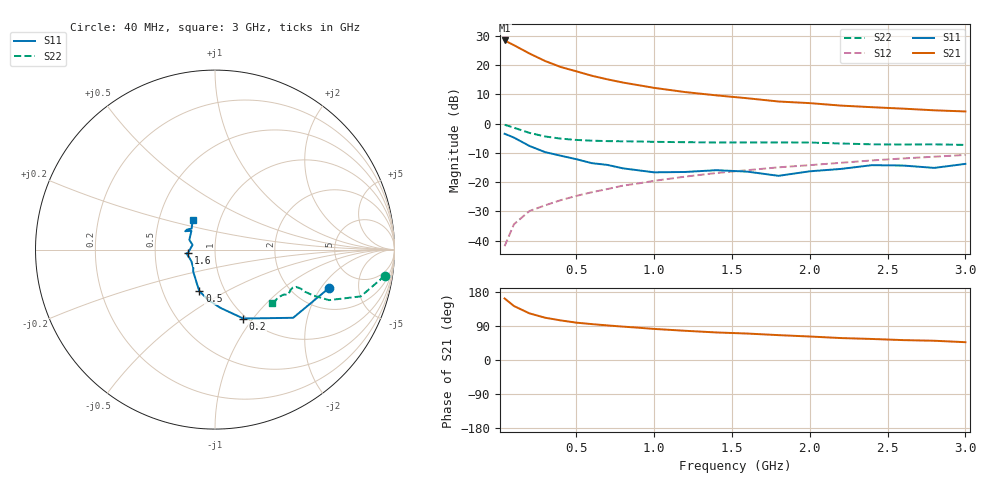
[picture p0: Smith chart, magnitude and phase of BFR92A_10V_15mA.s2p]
! Filename:  BFR92AI.S2P  Version:  2.0
! Philips part #: BFR92A  Date: May 1990
! Bias condition: Vce=10V, Ic=15mA
#  MHz  S  MA  R  50
! Freq  S11  S21  S12  S22  !GUM [dB]
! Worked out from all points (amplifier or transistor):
!   21 points, 40 MHz to 3 GHz, reference 50 ohm
!   highest |S21| = 28.5 dB at 40 MHz (marker M1)
!   |S21| within 3 dB of that: start of sweep to 148.3 MHz
!   unconditionally stable (mu >= 1): 897.4 MHz to 2.424 GHz; 2.693 GHz to 2.853 GHz
!   at 300 MHz: K = 0.77, MSG = 24.7 dB, |S12| = -28.0 dB
!   at 1 GHz: K = 1.01, MAG = 15.2 dB, |S12| = -19.6 dB
!   at 3 GHz: K = 0.98, MSG = 7.4 dB, |S12| = -10.7 dB
!   S11 on the Smith chart (normalised r, x): 40 MHz: 3.11, -2.41; 200 MHz: 0.97, -0.90; 500 MHz: 0.76, -0.37; 1.6 GHz: 0.74, -0.03; 3 GHz: 0.74, +0.25
40  0.672 -18.4  26.59 162.4  0.008 77.9  0.958 -8.7
100  0.578 -41.1  22.06 142.4  0.019 69.8  0.853 -17.8
200  0.415 -67.7  15.88 123.0  0.032 69.8  0.695 -23.9
300  0.326 -84.7  11.83 111.6  0.04 68.6  0.604 -25.0
400  0.283 -97.6  9.353 104.5  0.049 70.2  0.555 -25.1
500  0.247 -110.7  7.884 98.6  0.058 70.0  0.527 -24.5
600  0.211 -119.1  6.622 94.7  0.067 71.7  0.512 -24.5
700  0.197 -123.3  5.747 91.3  0.076 73.6  0.503 -24.7
800  0.172 -135.1  5.06 88.1  0.087 73.4  0.499 -24.6
900  0.159 -139.5  4.561 85.2  0.095 74.8  0.496 -25.0
1000  0.147 -152.9  4.106 82.0  0.105 74.6  0.489 -25.1
1200  0.149 -160.4  3.476 77.1  0.124 74.6  0.482 -26.1
1400  0.16 -172.5  3.055 72.7  0.143 74.2  0.477 -28.1
1600  0.151 -173.3  2.723 69.8  0.16 74.0  0.478 -29.1
1800  0.128 168.0  2.396 65.6  0.179 74.0  0.478 -30.8
2000  0.153 159.3  2.249 62.0  0.195 73.2  0.476 -32.0
2200  0.168 141.5  2.04 57.9  0.214 72.8  0.458 -33.1
2400  0.195 148.3  1.915 55.5  0.235 71.6  0.443 -36.5
2600  0.192 144.7  1.809 52.5  0.254 70.8  0.44 -39.8
2800  0.175 137.8  1.694 50.8  0.272 70.3  0.443 -42.3
3000  0.205 127.6  1.619 47.0  0.292 69.0  0.433 -43.2
